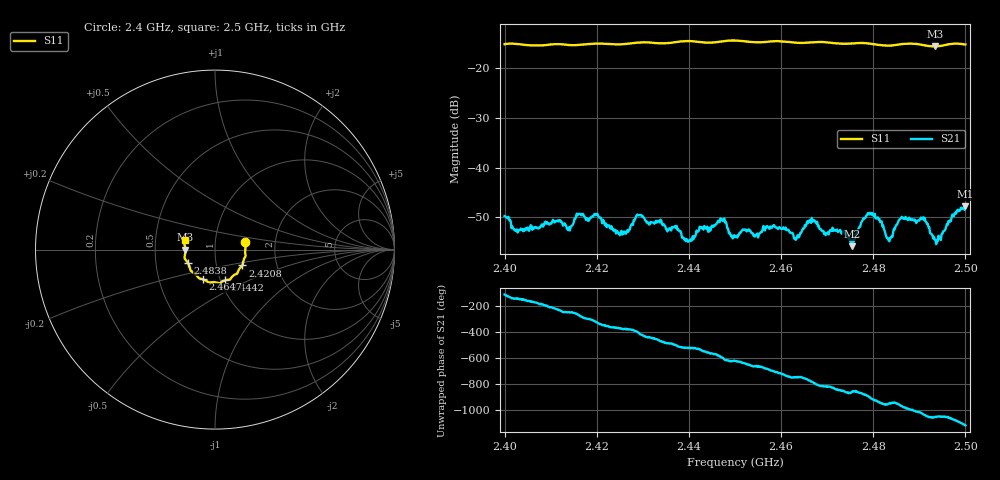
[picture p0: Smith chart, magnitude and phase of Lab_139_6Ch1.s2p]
# Hz S RI R 50
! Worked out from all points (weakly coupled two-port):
!   601 points, 2.4 GHz to 2.5 GHz, reference 50 ohm
!   highest |S21| = -47.77 dB at 2.5 GHz (marker M1); lowest = -55.8 dB at 2.4753 GHz (marker M2)
!   lowest |S11| = -15.7 dB at 2.4933 GHz (marker M3), VSWR 1.39, Z = 35.9 + j0.0133 ohm
!   |S11| at or under -10 dB: start of sweep to end of sweep
!   S12 and S22 are empty: the file has one direction only
!   S11 on the Smith chart (normalised r, x): 2.4 GHz: 1.40, +0.12; 2.4208 GHz: 1.33, -0.24; 2.4442 GHz: 1.05, -0.37; 2.4647 GHz: 0.83, -0.28; 2.4838 GHz: 0.73, -0.11; 2.5 GHz: 0.71, +0.08
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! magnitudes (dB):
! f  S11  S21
! 2.4 GHz  -15.2  -49.7
! 2.4028 GHz  -15.2  -53.0
! 2.414 GHz  -15.4  -51.9
! 2.4167 GHz  -15.3  -49.6
! 2.4208 GHz  -15.1  -50.0
! 2.4253 GHz  -15.2  -52.7
! 2.429 GHz  -14.9  -49.6
! 2.4333 GHz  -15.0  -50.7
! 2.4398 GHz  -14.6  -54.9
! 2.4442 GHz  -14.9  -52.9
! 2.4473 GHz  -14.6  -50.7
! 2.45 GHz  -14.5  -53.8
! 2.4647 GHz  -14.9  -52.3
! 2.4667 GHz  -14.8  -50.1
! 2.4753 GHz  -15.1  -55.8
! 2.4793 GHz  -15.1  -49.1
! 2.4833 GHz  -15.5  -54.6
! 2.4838 GHz  -15.5  -54.1
! 2.486 GHz  -15.2  -50.2
! 2.4907 GHz  -15.3  -50.2
! 2.4933 GHz  -15.7  -54.4
! 2.5 GHz  -15.3  -47.8
